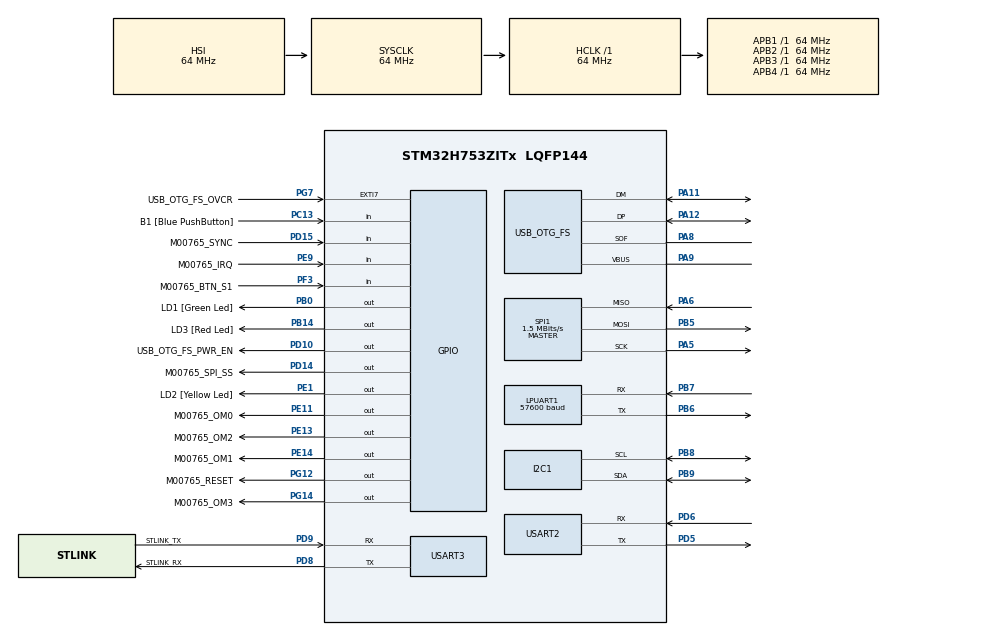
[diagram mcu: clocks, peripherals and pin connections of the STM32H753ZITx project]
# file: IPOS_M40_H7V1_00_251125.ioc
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Bdma.LPUART1_RX.0.Direction=DMA_PERIPH_TO_MEMORY
Bdma.LPUART1_RX.0.EventEnable=DISABLE
Bdma.LPUART1_RX.0.Instance=BDMA_Channel0
Bdma.LPUART1_RX.0.MemDataAlignment=DMA_MDATAALIGN_BYTE
Bdma.LPUART1_RX.0.MemInc=DMA_MINC_ENABLE
Bdma.LPUART1_RX.0.Mode=DMA_NORMAL
Bdma.LPUART1_RX.0.PeriphDataAlignment=DMA_PDATAALIGN_BYTE
Bdma.LPUART1_RX.0.PeriphInc=DMA_PINC_DISABLE
Bdma.LPUART1_RX.0.Polarity=HAL_DMAMUX_REQ_GEN_RISING
Bdma.LPUART1_RX.0.Priority=DMA_PRIORITY_LOW
Bdma.LPUART1_RX.0.RequestNumber=1
Bdma.LPUART1_RX.0.SignalID=NONE
Bdma.LPUART1_RX.0.SyncEnable=DISABLE
Bdma.LPUART1_RX.0.SyncPolarity=HAL_DMAMUX_SYNC_NO_EVENT
Bdma.LPUART1_RX.0.SyncRequestNumber=1
Bdma.LPUART1_RX.0.SyncSignalID=NONE
Bdma.LPUART1_TX.1.Direction=DMA_MEMORY_TO_PERIPH
Bdma.LPUART1_TX.1.EventEnable=DISABLE
Bdma.LPUART1_TX.1.Instance=BDMA_Channel1
Bdma.LPUART1_TX.1.MemDataAlignment=DMA_MDATAALIGN_BYTE
Bdma.LPUART1_TX.1.MemInc=DMA_MINC_ENABLE
Bdma.LPUART1_TX.1.Mode=DMA_NORMAL
Bdma.LPUART1_TX.1.PeriphDataAlignment=DMA_PDATAALIGN_BYTE
Bdma.LPUART1_TX.1.PeriphInc=DMA_PINC_DISABLE
Bdma.LPUART1_TX.1.Polarity=HAL_DMAMUX_REQ_GEN_RISING
Bdma.LPUART1_TX.1.Priority=DMA_PRIORITY_LOW
Bdma.LPUART1_TX.1.RequestNumber=1
Bdma.LPUART1_TX.1.SignalID=NONE
Bdma.LPUART1_TX.1.SyncEnable=DISABLE
Bdma.LPUART1_TX.1.SyncPolarity=HAL_DMAMUX_SYNC_NO_EVENT
Bdma.LPUART1_TX.1.SyncRequestNumber=1
Bdma.LPUART1_TX.1.SyncSignalID=NONE
Bdma.Request0=LPUART1_RX
Bdma.Request1=LPUART1_TX
Bdma.RequestsNb=2
CORTEX_M7.CPU_DCache=Disabled
CORTEX_M7.CPU_ICache=Disabled
CORTEX_M7.MPU_Control=__NULL
CORTEX_M7.default_mode_Activation=1
Dma.Request0=SPI1_RX
Dma.Request1=SPI1_TX
Dma.Request2=USART2_RX
Dma.SPI1_RX.0.Direction=DMA_PERIPH_TO_MEMORY
Dma.SPI1_RX.0.EventEnable=DISABLE
Dma.SPI1_RX.0.FIFOMode=DMA_FIFOMODE_DISABLE
Dma.SPI1_RX.0.Instance=DMA1_Stream0
Dma.SPI1_RX.0.MemDataAlignment=DMA_MDATAALIGN_BYTE
Dma.SPI1_RX.0.MemInc=DMA_MINC_ENABLE
Dma.SPI1_RX.0.Mode=DMA_NORMAL
Dma.SPI1_RX.0.PeriphDataAlignment=DMA_PDATAALIGN_BYTE
Dma.SPI1_RX.0.PeriphInc=DMA_PINC_DISABLE
Dma.SPI1_RX.0.Polarity=HAL_DMAMUX_REQ_GEN_RISING
Dma.SPI1_RX.0.Priority=DMA_PRIORITY_LOW
Dma.SPI1_RX.0.RequestNumber=1
Dma.SPI1_RX.0.SignalID=NONE
Dma.SPI1_RX.0.SyncEnable=DISABLE
Dma.SPI1_RX.0.SyncPolarity=HAL_DMAMUX_SYNC_NO_EVENT
Dma.SPI1_RX.0.SyncRequestNumber=1
Dma.SPI1_RX.0.SyncSignalID=NONE
Dma.SPI1_TX.1.Direction=DMA_MEMORY_TO_PERIPH
Dma.SPI1_TX.1.EventEnable=DISABLE
Dma.SPI1_TX.1.FIFOMode=DMA_FIFOMODE_DISABLE
Dma.SPI1_TX.1.Instance=DMA1_Stream1
Dma.SPI1_TX.1.MemDataAlignment=DMA_MDATAALIGN_BYTE
Dma.SPI1_TX.1.MemInc=DMA_MINC_ENABLE
Dma.SPI1_TX.1.Mode=DMA_NORMAL
Dma.SPI1_TX.1.PeriphDataAlignment=DMA_PDATAALIGN_BYTE
Dma.SPI1_TX.1.PeriphInc=DMA_PINC_DISABLE
Dma.SPI1_TX.1.Polarity=HAL_DMAMUX_REQ_GEN_RISING
Dma.SPI1_TX.1.Priority=DMA_PRIORITY_LOW
Dma.SPI1_TX.1.RequestNumber=1
Dma.SPI1_TX.1.SignalID=NONE
Dma.SPI1_TX.1.SyncEnable=DISABLE
Dma.SPI1_TX.1.SyncPolarity=HAL_DMAMUX_SYNC_NO_EVENT
Dma.SPI1_TX.1.SyncRequestNumber=1
Dma.SPI1_TX.1.SyncSignalID=NONE
Dma.USART2_RX.2.Direction=DMA_PERIPH_TO_MEMORY
Dma.USART2_RX.2.EventEnable=DISABLE
Dma.USART2_RX.2.FIFOMode=DMA_FIFOMODE_DISABLE
Dma.USART2_RX.2.Instance=DMA1_Stream2
Dma.USART2_RX.2.MemDataAlignment=DMA_MDATAALIGN_BYTE
Dma.USART2_RX.2.MemInc=DMA_MINC_ENABLE
Dma.USART2_RX.2.Mode=DMA_NORMAL
Dma.USART2_RX.2.PeriphDataAlignment=DMA_PDATAALIGN_BYTE
Dma.USART2_RX.2.PeriphInc=DMA_PINC_DISABLE
Dma.USART2_RX.2.Polarity=HAL_DMAMUX_REQ_GEN_RISING
Dma.USART2_RX.2.Priority=DMA_PRIORITY_LOW
Dma.USART2_RX.2.RequestNumber=1
Dma.USART2_RX.2.SignalID=NONE
Dma.USART2_RX.2.SyncEnable=DISABLE
Dma.USART2_RX.2.SyncPolarity=HAL_DMAMUX_SYNC_NO_EVENT
Dma.USART2_RX.2.SyncRequestNumber=1
Dma.USART2_RX.2.SyncSignalID=NONE
LPUART1.BaudRate=57600
Mcu.Family=STM32H7
Mcu.Name=STM32H753ZITx
Mcu.Package=LQFP144
NUCLEO-H753ZI.VCP=false
NVIC.BDMA_Channel0_IRQn=true\:0\:0\:false\:false\:true\:false\:true\:true
NVIC.BDMA_Channel1_IRQn=true\:0\:0\:false\:false\:true\:false\:true\:true
NVIC.DMA1_Stream0_IRQn=true\:0\:0\:false\:false\:true\:false\:true\:true
NVIC.DMA1_Stream1_IRQn=true\:0\:0\:false\:false\:true\:false\:true\:true
NVIC.DMA1_Stream2_IRQn=true\:0\:0\:false\:false\:true\:false\:true\:true
NVIC.PriorityGroup=NVIC_PRIORITYGROUP_4
NVIC.SPI1_IRQn=true\:0\:0\:false\:false\:true\:false\:true\:true
NVIC.USART2_IRQn=true\:0\:0\:false\:false\:true\:true\:true\:true
NVIC.USART3_IRQn=true\:0\:0\:false\:false\:true\:true\:true\:true
PA11.Mode=Device_Only
PA11.Signal=USB_OTG_FS_DM
PA12.Mode=Device_Only
PA12.Signal=USB_OTG_FS_DP
PA5.GPIO_PuPd=GPIO_PULLDOWN
PA5.Mode=Full_Duplex_Master
PA5.Signal=SPI1_SCK
PA6.GPIO_PuPd=GPIO_PULLDOWN
PA6.Mode=Full_Duplex_Master
PA6.Signal=SPI1_MISO
PA8.Mode=Activate_SOF_FS
PA8.Signal=USB_OTG_FS_SOF
PA9.Mode=Activate_VBUS
PA9.Signal=USB_OTG_FS_VBUS
PB0.GPIO_Label=LD1 [Green Led]
PB0.Signal=GPIO_Output
PB14.GPIO_Label=LD3 [Red Led]
PB14.Signal=GPIO_Output
PB5.GPIO_PuPd=GPIO_PULLDOWN
PB5.Mode=Full_Duplex_Master
PB5.Signal=SPI1_MOSI
PB6.Mode=Asynchronous
PB6.Signal=LPUART1_TX
PB7.GPIO_PuPd=GPIO_PULLUP
PB7.Mode=Asynchronous
PB7.Signal=LPUART1_RX
PB8.GPIO_Pu=GPIO_PULLUP
PB8.Mode=I2C
PB8.Signal=I2C1_SCL
PB9.GPIO_Pu=GPIO_PULLUP
PB9.Mode=I2C
PB9.Signal=I2C1_SDA
PC13.GPIO_Label=B1 [Blue PushButton]
PC13.Signal=GPIO_Input
PC14-OSC32_IN\ (OSC32_IN).Signal=RCC_OSC32_IN
PC15-OSC32_OUT\ (OSC32_OUT).Signal=RCC_OSC32_OUT
PC3_C.Signal=SPI2_MOSI
PD10.GPIO_Label=USB_OTG_FS_PWR_EN
PD10.Signal=GPIO_Output
PD14.GPIO_Label=M00765_SPI_SS
PD14.GPIO_PuPd=GPIO_PULLUP
PD14.PinState=GPIO_PIN_SET
PD14.Signal=GPIO_Output
PD15.GPIO_Label=M00765_SYNC
PD15.GPIO_PuPd=GPIO_PULLDOWN
PD15.Signal=GPIO_Input
PD5.Mode=Asynchronous
PD5.Signal=USART2_TX
PD6.Mode=Asynchronous
PD6.Signal=USART2_RX
PD8.GPIO_Label=STLINK_RX
PD8.Mode=Asynchronous
PD8.Signal=USART3_TX
PD9.GPIO_Label=STLINK_TX
PD9.Mode=Asynchronous
PD9.Signal=USART3_RX
PE1.GPIO_Label=LD2 [Yellow Led]
PE1.Signal=GPIO_Output
PE11.GPIO_Label=M00765_OM0
PE11.Signal=GPIO_Output
PE13.GPIO_Label=M00765_OM2
PE13.Signal=GPIO_Output
PE14.GPIO_Label=M00765_OM1
PE14.Signal=GPIO_Output
PE9.GPIO_Label=M00765_IRQ
PE9.GPIO_PuPd=GPIO_PULLUP
PE9.Signal=GPIO_Input
PF3.GPIO_Label=M00765_BTN_S1
PF3.GPIO_PuPd=GPIO_PULLUP
PF3.Signal=GPIO_Input
PG12.GPIO_Label=M00765_RESET
PG12.Signal=GPIO_Output
PG14.GPIO_Label=M00765_OM3
PG14.GPIO_ModeDefaultOutputPP=GPIO_MODE_OUTPUT_OD
PG14.GPIO_PuPd=GPIO_PULLUP
PG14.Signal=GPIO_Output
PG7.GPIO_Label=USB_OTG_FS_OVCR
PG7.Signal=GPXTI7
PH0-OSC_IN\ (PH0).Mode=HSE-External-Oscillator
PH0-OSC_IN\ (PH0).Signal=RCC_OSC_IN
PH1-OSC_OUT\ (PH1).Mode=HSE-External-Oscillator
PH1-OSC_OUT\ (PH1).Signal=RCC_OSC_OUT
ProjectManager.HeapSize=0x200
ProjectManager.StackSize=0x400
ProjectManager.TargetToolchain=STM32CubeIDE
RCC.ADCFreq_Value=16125000
RCC.APB1Freq_Value=64000000
RCC.APB2Freq_Value=64000000
RCC.APB3Freq_Value=64000000
RCC.APB4Freq_Value=64000000
RCC.CSICalibrationValue=16
RCC.CortexFreq_Value=64000000
RCC.DIVM1=1
RCC.DIVN1=24
RCC.DIVQ1=4
RCC.HCLKFreq_Value=64000000
RCC.HSE_VALUE=8000000
RCC.HSICalibrationValue=32
RCC.PLLFRACN=0
RCC.PWR_Regulator_Voltage_Scale=PWR_REGULATOR_VOLTAGE_SCALE2
RCC.ProductRev=revY
RCC.SYSCLKFreq_VALUE=64000000
RCC.USBFreq_Value=48000000
SPI1.BaudRatePrescaler=SPI_BAUDRATEPRESCALER_32
SPI1.CalculateBaudRate=1.5 MBits/s
SPI1.DataSize=SPI_DATASIZE_8BIT
SPI1.Direction=SPI_DIRECTION_2LINES
SPI1.Mode=SPI_MODE_MASTER
SPI1.VirtualType=VM_MASTER
USART2.VirtualMode-Asynchronous=VM_ASYNC
USART3.VirtualMode-Asynchronous=VM_ASYNC
USB_OTG_FS.VirtualMode=Device_Only
VP_MEMORYMAP_VS_MEMORYMAP.Mode=CurAppReg
VP_NUCLEO-H753ZI_VS_BSP_COMMON.Mode=COMMON
board=NUCLEO-H753ZI

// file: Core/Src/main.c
/* USER CODE BEGIN Header */
/**
  ******************************************************************************
  * @file           : main.c
  * @brief          : Main program body
  ******************************************************************************
  * @attention
  *
  * Copyright (c) 2025 STMicroelectronics.
  * All rights reserved.
  *
  * This software is licensed under terms that can be found in the LICENSE file
  * in the root directory of this software component.
  * If no LICENSE file comes with this software, it is provided AS-IS.
  *
  ******************************************************************************
  */
/* USER CODE END Header */
#include "main.h"
#include "bdma.h"
#include "dma.h"
#include "i2c.h"
#include "usart.h"
#include "spi.h"
#include "usb_otg.h"
#include "gpio.h"

/* USER CODE BEGIN Includes */
#include <stdio.h>
#include <stdint.h>
#include <stdbool.h>
#include <inttypes.h>
#include <ringbuffer.h>
#include "command_parser.h"
#include "abcc.h"
#include "abcc_hardware_abstraction_aux.h"
#include "abcc_api.h"
#include "slave_link.h"
#include "debug.h"
#include "protocol.h"
#include "slave_link.h"
/* USER CODE END Includes */

/* USER CODE BEGIN PV */

// -----------------------------------------------------------------------------
// Global / static variables
// -----------------------------------------------------------------------------
extern uint16_t appl_iPortA;
extern uint16_t appl_iPortB;
extern uint8_t appl_iPortC;
extern uint16_t appl_iStatusDebug;  // sent back to PLC
extern uint16_t appl_iStatusPLC;  // received from PLC
extern uint16_t appl_iStatusActive;
extern uint16_t appl_iStatusDebugTru;

extern uint16_t PortA_val;
extern uint16_t PortB_val;
extern uint8_t PortC_val;
extern uint16_t StatusPLC_val;
extern uint16_t StatusDebug_val;
extern uint16_t StatusActive_val;
extern uint16_t StatusDebugTru_val;

uint16_t tick;

/* USER CODE END PV */

void SystemClock_Config(void);
/* USER CODE BEGIN PFP */
/*
** Overrides the weak _write function to route printf to the SWV ITM Data
** Console.
*/

/* USER CODE END PFP */

/* USER CODE BEGIN 0 */

void to_binary_str_grouped(uint16_t value, int bits, char *buf, size_t buf_size)
{
    // Each nibble adds a space, so need bits + bits/4 + 1 for null
    if (buf_size < bits + bits / 4 + 1) return;

    int len = 0;
    for (int i = bits - 1; i >= 0; i--) {
        buf[len++] = (value & (1 << i)) ? '1' : '0';
        // Insert a space every 4 bits, except after the last group
        if (i % 4 == 0 && i != 0)
            buf[len++] = ' ';
    }
    buf[len] = '\0';
}

void uart3_debug(const char *msg) {
    HAL_UART_Transmit(&huart3, (uint8_t*)msg, strlen(msg), HAL_MAX_DELAY);
}

/*-----------------------------------------------------------------------------
**  Called when the master (PLC or F4) writes a value to the slave.
**  Handles PORTA and STATUS_OUT (from PLC → STM32F4).
**----------------------------------------------------------------------------*/
void slave_on_write(uint8_t var_id, uint16_t value)
{
    char buf[128], bin_str[20];

    // Remember last printed values (for debug throttling)
    static uint16_t lastPortA  = 0xFFFF;
    static uint16_t lastStatusOut = 0xFFFF;

    switch (var_id)
    {
    /*--------------------------------------------------
     * PLC writes PORTA → used as control or data word
     *--------------------------------------------------*/
    case VAR_PORTA:
    {
        uint16_t newVal = value & 0x03FF;    // mask to 10 bits (safety)
        slave_set_reg(VAR_PORTA, newVal);
        appl_iPortA = newVal;

        if (newVal != lastPortA)
        {
            //to_binary_str(newVal, 10, bin_str, sizeof(bin_str));
            // Build grouped binary string (e.g., "0000 1111 0000 0000")
			char bin_str[40];
			to_binary_str_grouped(newVal, 16, bin_str, sizeof(bin_str));
            snprintf(buf, sizeof(buf),
                     "WRITE PortA = %s (dec=%u)\r\n", bin_str, newVal);
            uart3_debug(buf);
            lastPortA = newVal;
        }
        break;
    }

    /*--------------------------------------------------
     * PLC writes STATUS_OUT → slave stores in appl_iStatusPLC
     *--------------------------------------------------*/
    case VAR_STATUS_PLC:
    {
        uint16_t newVal = value & 0x7FFFU;   // mask out any control bit (bit15 reserved)
        appl_iStatusPLC = newVal;
        slave_set_reg(VAR_STATUS_PLC, newVal);

        if (newVal != lastStatusOut)
        {
            //to_binary_str(newVal, 16, bin_str, sizeof(bin_str));
            // Build grouped binary string (e.g., "0000 1111 0000 0000")
			char bin_str[40];
			to_binary_str_grouped(newVal, 16, bin_str, sizeof(bin_str));

            snprintf(buf, sizeof(buf),
                     "WRITE STATUS_OUT (from PLC) = %s (dec=%u)\r\n", bin_str, newVal);
            uart3_debug(buf);
            lastStatusOut = newVal;
        }
        break;
    }

    /*--------------------------------------------------
     * (Optional) F4 writes STATUS_IN → update feedback to PLC
     *--------------------------------------------------*/
    case VAR_STATUS_DEBUG:
    {
        uint16_t newVal = value & 0x7FFFU;
        appl_iStatusDebug = newVal;
        slave_set_reg(VAR_STATUS_DEBUG, newVal);

        // Build grouped binary string (e.g., "0000 1111 0000 0000")
		char bin_str[40];
		to_binary_str_grouped(newVal, 16, bin_str, sizeof(bin_str));

        char buf[128];
        snprintf(buf, sizeof(buf),
                 "WRITE STATUS_DEBUG (from Master) = %s (dec=%u)\r\n",
				 bin_str, newVal);
        uart3_debug(buf);
        break;
    }
    /*--------------------------------------------------
	 * (Optional) Master writes STATUS_debug2 TRUPULSE  → update feedback to PLC
	 *--------------------------------------------------*/
	case VAR_STATUS_DEBUG_TRU:
	{
		uint16_t newVal = value & 0x7FFFU;
		appl_iStatusDebugTru = newVal;
		slave_set_reg(VAR_STATUS_DEBUG_TRU, newVal);

		// Build grouped binary string (e.g., "0000 1111 0000 0000")
		char bin_str[40];
		to_binary_str_grouped(newVal, 16, bin_str, sizeof(bin_str));

		char buf[128];
		snprintf(buf, sizeof(buf),
				 "WRITE STATUS_DEBUG_TRU (from Master) = %s (dec=%u)\r\n",
				 bin_str, newVal);
		uart3_debug(buf);
		break;
	}

    /*--------------------------------------------------
	 * Master writes STATUS_ACTIVE → update feedback to PLC
	 *--------------------------------------------------*/
    case VAR_STATUS_ACTIVE:
    {
        uint16_t newVal = value & 0x7FFFU;   // mask bit 15 if reserved
        appl_iStatusActive = newVal;          // store for application logic
        slave_set_reg(VAR_STATUS_ACTIVE, newVal); // make visible to PLC readback

        // Convert to binary string (15 bits for example)
        // Build grouped binary string (e.g., "0000 1111 0000 0000")
		char bin_str[40];
		to_binary_str_grouped(newVal, 16, bin_str, sizeof(bin_str));

        char buf[128];
        snprintf(buf, sizeof(buf),
                 "WRITE STATUS_ACTIVE (from Master) = %s (dec=%u)\r\n",
                 bin_str, newVal);
        uart3_debug(buf);

        break;
    }
    /*--------------------------------------------------
     * Default: unhandled variable
     *--------------------------------------------------*/
    default:
        snprintf(buf, sizeof(buf),
                 "WRITE Unknown var=0x%02X val=%u\r\n", var_id, value);
        uart3_debug(buf);
        break;
    }
}

void slave_on_read(uint8_t var_id)
{
    char buf[64], bin_str[20];
    static uint16_t lastPortB = 0xFFFF;
    static uint8_t  lastPortC = 0xFF;
    static uint16_t lastStatusDebugIN  = 0xFFFF;
    static uint16_t lastStatusActiveIN  = 0xFFFF;
    static uint16_t lastStatusOUT = 0xFFFF;
    static uint16_t lastStatusDebugIN_Tru = 0xffff;

    switch (var_id)
    {
    case VAR_PORTB:
    {
        uint16_t newVal = PortB_val & 0x03FF;
        slave_set_reg(VAR_PORTB, newVal);

        if (newVal != lastPortB) {
        	// Build grouped binary string (e.g., "0000 1111 0000 0000")
			char bin_str[40];
			to_binary_str_grouped(newVal, 16, bin_str, sizeof(bin_str));
            snprintf(buf, sizeof(buf), "READ PortB = %s (dec=%u)\r\n", bin_str, newVal);
            uart3_debug(buf);
            lastPortB = newVal;
        }
        break;
    }

    case VAR_PORTC:
    {
        uint8_t newVal = PortC_val;
        slave_set_reg(VAR_PORTC, newVal);

        if (newVal != lastPortC) {
        	// Build grouped binary string (e.g., "0000 1111")
			char bin_str[40];
			to_binary_str_grouped(newVal, 8, bin_str, sizeof(bin_str));
            snprintf(buf, sizeof(buf), "READ PortC = %s (dec=%u)\r\n", bin_str, newVal);
            uart3_debug(buf);
            lastPortC = newVal;
        }
        break;
    }

    case VAR_STATUS_DEBUG:   // PLC reads this (feedback from Master)
    {
        uint16_t newVal = StatusDebug_val;
        slave_set_reg(VAR_STATUS_DEBUG, newVal);

        if (newVal != lastStatusDebugIN) {
        	// Build grouped binary string (e.g., "0000 1111 0000 0000")
			char bin_str[40];
			to_binary_str_grouped(newVal, 16, bin_str, sizeof(bin_str));
            snprintf(buf, sizeof(buf), "READ STATUS_DEBUG (to PLC) = %s (dec=%u)\r\n", bin_str, newVal);
            uart3_debug(buf);
            lastStatusDebugIN = newVal;
        }
        break;
    }

    case VAR_STATUS_ACTIVE:   // PLC reads this (feedback from Master)
    {
        uint16_t newVal = StatusActive_val;
        slave_set_reg(VAR_STATUS_DEBUG, newVal);

        if (newVal != lastStatusActiveIN) {
        	// Build grouped binary string (e.g., "0000 1111 0000 0000")
			char bin_str[40];
			to_binary_str_grouped(newVal, 16, bin_str, sizeof(bin_str));
            snprintf(buf, sizeof(buf), "READ STATUS_ACTIVE (to PLC) = %s (dec=%u)\r\n", bin_str, newVal);
            uart3_debug(buf);
            lastStatusActiveIN = newVal;
        }
        break;
    }
    case VAR_STATUS_DEBUG_TRU:   // PLC reads this (feedback from Master)
	{
		uint16_t newVal = StatusDebugTru_val;
		slave_set_reg(VAR_STATUS_DEBUG_TRU, newVal);

		if (newVal != lastStatusDebugIN_Tru) {
			// Build grouped binary string (e.g., "0000 1111 0000 0000")
			char bin_str[40];
			to_binary_str_grouped(newVal, 16, bin_str, sizeof(bin_str));
			snprintf(buf, sizeof(buf), "READ STATUS_ACTIVE (to PLC) = %s (dec=%u)\r\n", bin_str, newVal);
			uart3_debug(buf);
			lastStatusDebugIN_Tru = newVal;
		}
		break;
	}
    case VAR_STATUS_PLC:  // MasterF4 reads this (value PLC last wrote)
    {
        uint16_t newVal = StatusPLC_val;
        slave_set_reg(VAR_STATUS_PLC, newVal);

        if (newVal != lastStatusOUT) {
        	// Build grouped binary string (e.g., "0000 1111 0000 0000")
			char bin_str[40];
			to_binary_str_grouped(newVal, 16, bin_str, sizeof(bin_str));
            snprintf(buf, sizeof(buf), "READ STATUS_PLC (from PLC) = %s (dec=%u)\r\n", bin_str, newVal);
            uart3_debug(buf);
            lastStatusOUT = newVal;
        }
        break;
    }

    default:
        snprintf(buf, sizeof(buf), "READ Unknown var=0x%02X\r\n", var_id);
        uart3_debug(buf);
        break;
    }
}

/*------------------------------------------------------------------------------
** ABCC_API_CbfUserInit()
** Place to take action based on ABCC module network type and firmware version.
** Calls ABCC_API_UserInitComplete() to indicate to the abcc_driver to continue.
**------------------------------------------------------------------------------
*/
void ABCC_API_CbfUserInit( ABCC_API_NetworkType iNetworkType, ABCC_API_FwVersionType iFirmwareVersion )
{
   ABCC_API_UserInitComplete();
   return;
}
/* USER CODE END 0 */

int main(void)
{

  /* USER CODE BEGIN 1 */
	   /*-------------------------------------------------------------------------
	   **
	   ** Port of the ABCC example code for the Nucleo-H753ZI2 board and the
	   ** M00765 ABCC adapter board.
	   **
	   ** All HW/interface reservations and initializations has been made via the
	   ** 'CubeMX' project, this includes the define:s for the I/O pins and the
	   ** initial settings for the I2C, SPI, and UART communication interfaces.
	   ** All additions or changes made in the CubeMX-generated files should be
	   ** inside the "USER X BEGIN/END" markers so updates to that project file
	   ** should be possible to apply without interfering with the ABCC-related
	   ** parts.
	   **
	   ** The __io_putchar() and __io_getchar functions has been added to usart.c
	   ** to allow for console I/O, but is not complete. FIFO/interrupt support
	   ** remains to do.
	   **
	   ** Basic operation with SPI or UART shall work. Both implementations runs
	   ** with polling operation. Interrupt-driven operation for SPI, and porting
	   ** of the critical section macros, remains "to do", as does SYNC support.
	   **
	   **-------------------------------------------------------------------------
	   */

	   /*
	   ** Timekeeping variables for the ABCC driver. The ABCC_API_RunTimerSystem()
	   ** requires a reasonably accurate reference, in this implementation the
	   ** 1ms HAL_GetTick() is used as a time base.
	   */
	   UINT32   lTickThen;
	   UINT32   lTickNow;
	   UINT32   lTickDiff;

	   /*
	   ** The RESTART button on the M00765 PCB should be flank sensitive so we
	   ** need variables to keep track of its state.
	   */
	   BOOL  fAbccRestartButtonThen;
	   BOOL  fAbccRestartButtonNow;

	   ABCC_ErrorCodeType eErrorCode = ABCC_EC_NO_ERROR;

  /* USER CODE END 1 */

  /* MCU Configuration--------------------------------------------------------*/

  /* Reset of all peripherals, Initializes the Flash interface and the Systick. */
  HAL_Init();

  /* Configure the system clock */
  SystemClock_Config();

  /* Initialize all configured peripherals */
  MX_DMA_Init();
  MX_BDMA_Init();
  MX_GPIO_Init();
  MX_I2C1_Init();
  MX_LPUART1_UART_Init();
  MX_SPI1_Init();
  MX_USB_OTG_FS_PCD_Init();
  MX_USART2_UART_Init();
  MX_USART3_UART_Init();
  /* USER CODE BEGIN 2 */

	  slave_link_start();

	  /*
	  ** Inform the adaptation functions in "abcc_hardware_abstraction.c" which I2C,
	  ** SPI and UART interfaces to use for the M00765 PCB and the ABCC. It is
	  ** assumed that those interfaces already has been claimed/reserved via the
	  ** CubeMX configuration tool, and that its code generator has defined the
	  ** corresponding structures here in the "main.c" so that the only
	  ** remaining task is to pass on pointers to those existing structures.
	  */
	  if( !ABCC_HAL_Set_I2C_Handle( &hi2c1 ) )
	  {
		 Error_Handler();
	  }
	  if( !ABCC_HAL_Set_SPI_Handle( &hspi1 ) )
	  {
		 Error_Handler();
	  }
	  if( ABCC_API_Init() != ABCC_EC_NO_ERROR )
	  {
		 Error_Handler();
	  }

	  lTickThen = HAL_GetTick();
	  fAbccRestartButtonThen = ABCC_HAL_GetRestartButton();

  /* USER CODE END 2 */

  /* Infinite loop */
	  while (1)
	  {

    /* USER CODE BEGIN 3 */

		  /* Poll parser and handle master requests */
		  slave_link_poll();

		  /*
		  ** Handle console input.
		  */

      /*
      ** Run the ABCC driver and handle any state-dependent actions.
      */
      eErrorCode = ABCC_API_Run();

      if( eErrorCode != ABCC_EC_NO_ERROR )
      {
         printf( "ABCC_API_Run() returned error code %d\n", eErrorCode );
         break;
      }

      /*
      ** Poll the system timer and inform ABCC_API_RunTimerSystem() about how
      ** much time that has elapsed.
      */
      lTickNow = HAL_GetTick();
      if( lTickNow != lTickThen )
      {
         lTickDiff = lTickNow - lTickThen;
         lTickThen = lTickNow;

         /*
         ** Make sure that *all* elapsed time is accounted for...
         */
         while( lTickDiff > 0 )
         {
            if( lTickDiff > ABP_SINT16_MAX )
            {
               ABCC_API_RunTimerSystem( ABP_SINT16_MAX );
               lTickDiff -= ABP_SINT16_MAX;
            }
            else
            {
               ABCC_API_RunTimerSystem( (INT16)lTickDiff );
               lTickDiff = 0;
            }
         }
      }

      /*
      ** Restart the ABCC when the S1/RESTART is pushed down. Debouncing is not
      ** needed since the button is wired via a voltage WD chip (U4).
      */
      fAbccRestartButtonNow = ABCC_HAL_GetRestartButton();
      if( fAbccRestartButtonNow != fAbccRestartButtonThen )
      {
         fAbccRestartButtonThen = fAbccRestartButtonNow;
         if( !fAbccRestartButtonThen )
         {
            ABCC_API_Restart();
         }
      }
  }

  ABCC_API_Shutdown();
  while (1)
  {
      /*
      ** The program has ended and shall be terminated.
      */
  }
  /* USER CODE END 3 */
}

void SystemClock_Config(void)
{
  RCC_OscInitTypeDef RCC_OscInitStruct = {0};
  RCC_ClkInitTypeDef RCC_ClkInitStruct = {0};

  /** Supply configuration update enable
  */
  HAL_PWREx_ConfigSupply(PWR_LDO_SUPPLY);

  /** Configure the main internal regulator output voltage
  */
  __HAL_PWR_VOLTAGESCALING_CONFIG(PWR_REGULATOR_VOLTAGE_SCALE2);

  while(!__HAL_PWR_GET_FLAG(PWR_FLAG_VOSRDY)) {}

  /** Initializes the RCC Oscillators according to the specified parameters
  * in the RCC_OscInitTypeDef structure.
  */
  RCC_OscInitStruct.OscillatorType = RCC_OSCILLATORTYPE_HSI|RCC_OSCILLATORTYPE_HSE;
  RCC_OscInitStruct.HSEState = RCC_HSE_ON;
  RCC_OscInitStruct.HSIState = RCC_HSI_DIV1;
  RCC_OscInitStruct.HSICalibrationValue = RCC_HSICALIBRATION_DEFAULT;
  RCC_OscInitStruct.PLL.PLLState = RCC_PLL_ON;
  RCC_OscInitStruct.PLL.PLLSource = RCC_PLLSOURCE_HSE;
  RCC_OscInitStruct.PLL.PLLM = 1;
  RCC_OscInitStruct.PLL.PLLN = 24;
  RCC_OscInitStruct.PLL.PLLP = 2;
  RCC_OscInitStruct.PLL.PLLQ = 4;
  RCC_OscInitStruct.PLL.PLLR = 2;
  RCC_OscInitStruct.PLL.PLLRGE = RCC_PLL1VCIRANGE_3;
  RCC_OscInitStruct.PLL.PLLVCOSEL = RCC_PLL1VCOWIDE;
  RCC_OscInitStruct.PLL.PLLFRACN = 0;
  if (HAL_RCC_OscConfig(&RCC_OscInitStruct) != HAL_OK)
  {
    Error_Handler();
  }

  /** Initializes the CPU, AHB and APB buses clocks
  */
  RCC_ClkInitStruct.ClockType = RCC_CLOCKTYPE_HCLK|RCC_CLOCKTYPE_SYSCLK
                              |RCC_CLOCKTYPE_PCLK1|RCC_CLOCKTYPE_PCLK2
                              |RCC_CLOCKTYPE_D3PCLK1|RCC_CLOCKTYPE_D1PCLK1;
  RCC_ClkInitStruct.SYSCLKSource = RCC_SYSCLKSOURCE_HSI;
  RCC_ClkInitStruct.SYSCLKDivider = RCC_SYSCLK_DIV1;
  RCC_ClkInitStruct.AHBCLKDivider = RCC_HCLK_DIV1;
  RCC_ClkInitStruct.APB3CLKDivider = RCC_APB3_DIV1;
  RCC_ClkInitStruct.APB1CLKDivider = RCC_APB1_DIV1;
  RCC_ClkInitStruct.APB2CLKDivider = RCC_APB2_DIV1;
  RCC_ClkInitStruct.APB4CLKDivider = RCC_APB4_DIV1;

  if (HAL_RCC_ClockConfig(&RCC_ClkInitStruct, FLASH_LATENCY_1) != HAL_OK)
  {
    Error_Handler();
  }
}

/* USER CODE BEGIN 4 */

uint32_t HAL_GetTick(void)
{

	//HAL_GPIO_TogglePin(LD2_GPIO_Port, LD2_Pin);
	return uwTick;
	tick++;
	if(tick>=500){
		tick = 0;
		printf("Slave ready, waiting for master...\r\n");
	}
}

int _write(int file, char *ptr, int len)
{
    HAL_UART_Transmit(&huart3, (uint8_t*)ptr, len, HAL_MAX_DELAY);
    return len;
}
/* USER CODE END 4 */

void Error_Handler(void)
{
  __disable_irq();
  while (1)
  {
  }
}
